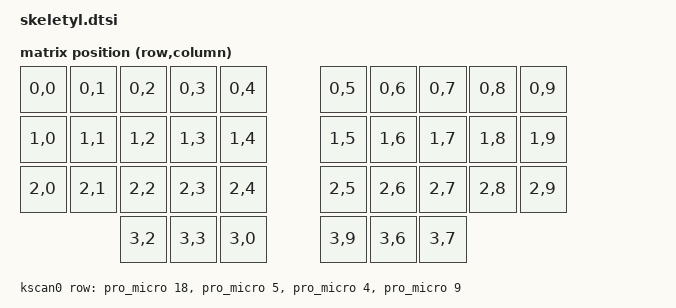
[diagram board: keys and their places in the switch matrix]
/*
 * BastardKB Skeletyl (flex PCB + Elite-C adapter) with a nice!nano v2
 * compatible nRF52840 Pro Micro in the adapter.
 *
 * Pins follow QMK bastardkb/skeletyl/promicro, in Pro Micro numbering:
 *   rows: F7 (18), C6 (5), D4 (4), B5 (9)
 *   cols: F5 (20), B6 (10), D7 (6), E6 (7), B4 (8)
 * Diodes are ROW2COL. Columns run outer to inner on both halves; the
 * right half lists them reversed. Thumbs use columns 2, 3 and 0 of row 3.
 */

#include <dt-bindings/zmk/matrix_transform.h>

/ {
    chosen {
        zmk,kscan = &kscan0;
        zmk,matrix-transform = &default_transform;
    };

    default_transform: keymap_transform_0 {
        compatible = "zmk,matrix-transform";
        columns = <10>;
        rows = <4>;
        map = <
RC(0,0) RC(0,1) RC(0,2) RC(0,3) RC(0,4)   RC(0,5) RC(0,6) RC(0,7) RC(0,8) RC(0,9)
RC(1,0) RC(1,1) RC(1,2) RC(1,3) RC(1,4)   RC(1,5) RC(1,6) RC(1,7) RC(1,8) RC(1,9)
RC(2,0) RC(2,1) RC(2,2) RC(2,3) RC(2,4)   RC(2,5) RC(2,6) RC(2,7) RC(2,8) RC(2,9)
                RC(3,2) RC(3,3) RC(3,0)   RC(3,9) RC(3,6) RC(3,7)
        >;
    };

    kscan0: kscan {
        compatible = "zmk,kscan-gpio-matrix";
        diode-direction = "row2col";
        wakeup-source;

        row-gpios
            = <&pro_micro 18 GPIO_ACTIVE_HIGH>
            , <&pro_micro 5 GPIO_ACTIVE_HIGH>
            , <&pro_micro 4 GPIO_ACTIVE_HIGH>
            , <&pro_micro 9 GPIO_ACTIVE_HIGH>
            ;
    };
};
